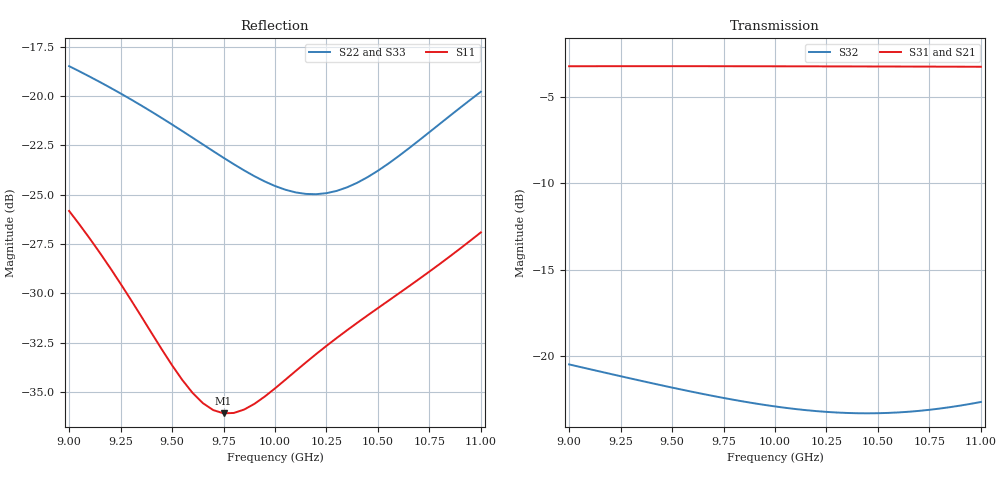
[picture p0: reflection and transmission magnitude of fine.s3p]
! yapnr rf: wilkinson-x10, footprint re-simulated (refine 2)
! spec sha256 873f85794a61544b0bb32f7d4ed76952a4a3fe576a48ff2aa00e031ce3428988
! 3 ports renormalized to 50 ohm, e^(+jwt) convention
# GHz S RI R 50
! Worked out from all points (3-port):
!   41 points, 9 GHz to 11 GHz, reference 50 ohm
!   strongest paths, dB at 9 GHz, 9.5 GHz, 10 GHz, 10.5 GHz, 11 GHz:
!     S31: -3.2, -3.2, -3.2, -3.2, -3.2
!     S21: -3.2, -3.2, -3.2, -3.2, -3.2
!     S32: -20.5, -21.8, -22.9, -23.3, -22.7
!   lowest |S11| = -36.1 dB at 9.75 GHz (marker M1), VSWR 1.03, Z = 51.2 + j1.08 ohm
!   |S11| at or under -10 dB: start of sweep to end of sweep
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9  0.0506 0.00754  -0.1321 0.6833  -0.1321 0.6833
   -0.1309 0.6789  0.0464 0.1095  -0.00183 -0.0945
   -0.1309 0.6789  -0.00183 -0.0945  0.0464 0.1095
9.2  0.0363 0.00484  -0.056 0.6941  -0.056 0.6941
     -0.0553 0.6895  0.0543 0.0897  -0.0228 -0.0858
     -0.0553 0.6895  -0.0228 -0.0858  0.0543 0.0897
9.55  0.0178 0.00696  0.0783 0.6921  0.0783 0.6921
      0.0783 0.6873  0.0622 0.0526  -0.0518 -0.0607
      0.0783 0.6873  -0.0518 -0.0607  0.0622 0.0526
9.65  0.0143 0.00864  0.1163 0.6866  0.1163 0.6866
      0.1161 0.6818  0.0629 0.0415  -0.0578 -0.0518
      0.1161 0.6818  -0.0578 -0.0518  0.0629 0.0415
9.75  0.0116 0.0106  0.154 0.6791  0.154 0.6791
      0.1536 0.6743  0.0628 0.0303  -0.0627 -0.0422
      0.1536 0.6743  -0.0627 -0.0422  0.0628 0.0303
9.85  0.00984 0.0127  0.1913 0.6695  0.1913 0.6695
      0.1906 0.6646  0.0619 0.0189  -0.0663 -0.0322
      0.1906 0.6646  -0.0663 -0.0322  0.0619 0.0189
10  0.00883 0.0159  0.246 0.6511  0.246 0.6511
    0.245 0.6463  0.0591 0.00177  -0.0695 -0.0167
    0.245 0.6463  -0.0695 -0.0167  0.0591 0.00177
10.2  0.0105 0.0196  0.3164 0.6196  0.3164 0.6196
      0.3149 0.6149  0.0523 -0.0211  -0.0691 0.00442
      0.3149 0.6149  -0.0691 0.00442  0.0523 -0.0211
10.4  0.0153 0.0218  0.383 0.5804  0.383 0.5804
      0.381 0.5759  0.0418 -0.0435  -0.0636 0.0248
      0.381 0.5759  -0.0636 0.0248  0.0418 -0.0435
11  0.0433 0.0127  0.5518 0.4206  0.5518 0.4206
    0.5487 0.4168  -0.013 -0.1016  -0.02 0.0708
    0.5487 0.4168  -0.02 0.0708  -0.013 -0.1016
